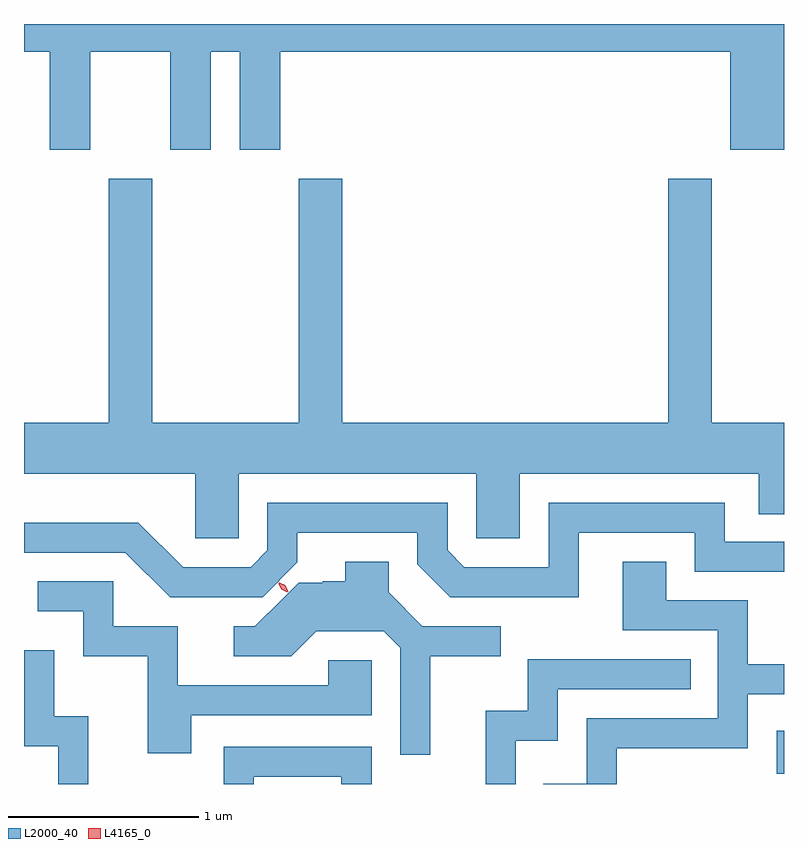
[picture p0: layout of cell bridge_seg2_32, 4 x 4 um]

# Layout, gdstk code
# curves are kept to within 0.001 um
import gdstk
lib = gdstk.Library(unit=1e-6, precision=1e-09)
def R(c, l, rs):  # rectangles x0, y0, x1, y1
    for r in rs: c.add(gdstk.rectangle(r[:2], r[2:], *l))
def P(c, l, *ps):  # polygons
    for p in ps: c.add(gdstk.Polygon(p, *l))
L2000_40 = (2000, 40)
L4165_0 = (4165, 0)

bridge_seg2_32 = lib.new_cell('bridge_seg2_32')
R(bridge_seg2_32, L2000_40, [(1911.251,1006.776,1911.29,1007.004)])
P(bridge_seg2_32, L2000_40, [(1907.639,1010.576),(1908.061,1010.576),(1908.061,1010.061),(1908.274,1010.061),(1908.274,1010.576),(1908.426,1010.576),(1908.426,1010.061),(1908.639,1010.061),(1908.639,1010.576),(1911.006,1010.576),(1911.006,1010.061),(1911.29,1010.061),(1911.29,1010.723),(1907.29,1010.723),(1907.29,1010.576),(1907.426,1010.576),(1907.426,1010.061),(1907.639,1010.061)],
  [(1908.419,1008.356),(1909.671,1008.356),(1909.671,1008.016),(1909.899,1008.016),(1909.899,1008.356),(1911.156,1008.356),(1911.156,1008.143),(1911.29,1008.143),(1911.29,1008.624),(1910.909,1008.624),(1910.909,1009.909),(1910.681,1009.909),(1910.681,1008.624),(1908.964,1008.624),(1908.964,1009.909),(1908.736,1009.909),(1908.736,1008.624),(1907.964,1008.624),(1907.964,1009.909),(1907.736,1009.909),(1907.736,1008.624),(1907.29,1008.624),(1907.29,1008.356),(1908.191,1008.356),(1908.191,1008.016),(1908.419,1008.016)],
  [(1908.45,1007.707),(1908.547,1007.707),(1908.729,1007.889),(1908.729,1008.046),(1909.361,1008.046),(1909.361,1007.879),(1909.534,1007.706),(1910.209,1007.706),(1910.209,1008.046),(1910.821,1008.046),(1910.821,1007.841),(1911.29,1007.841),(1911.29,1007.999),(1910.979,1007.999),(1910.979,1008.204),(1910.051,1008.204),(1910.051,1007.864),(1909.607,1007.864),(1909.519,1007.952),(1909.519,1008.204),(1908.571,1008.204),(1908.571,1007.952),(1908.484,1007.864),(1908.127,1007.864),(1907.892,1008.099),(1907.29,1008.099),(1907.29,1007.941),(1907.824,1007.941),(1908.059,1007.706)],
  [(1910.409,1006.911),(1911.099,1006.911),(1911.099,1007.196),(1911.29,1007.196),(1911.29,1007.354),(1911.099,1007.354),(1911.099,1007.689),(1910.669,1007.689),(1910.669,1007.894),(1910.441,1007.894),(1910.441,1007.531),(1910.941,1007.531),(1910.941,1007.069),(1910.251,1007.069),(1910.251,1006.724),(1910.023,1006.724),(1910.023,1006.723),(1910.409,1006.723)],
  [(1909.429,1007.396),(1909.798,1007.396),(1909.798,1007.554),(1909.387,1007.554),(1909.209,1007.732),(1909.209,1007.894),(1908.981,1007.894),(1908.981,1007.789),(1908.862,1007.789),(1908.862,1007.781),(1908.735,1007.781),(1908.575,1007.621),(1908.573,1007.623),(1908.504,1007.554),(1908.393,1007.554),(1908.393,1007.396),(1908.697,1007.396),(1908.827,1007.526),(1909.184,1007.526),(1909.271,1007.439),(1909.271,1006.878),(1909.429,1006.878)],
  [(1908.169,1007.086),(1909.119,1007.086),(1909.119,1007.374),(1908.891,1007.374),(1908.891,1007.244),(1908.099,1007.244),(1908.099,1007.554),(1907.759,1007.554),(1907.759,1007.789),(1907.363,1007.789),(1907.363,1007.631),(1907.601,1007.631),(1907.601,1007.396),(1907.941,1007.396),(1907.941,1006.886),(1908.169,1006.886)],
  [(1907.629,1007.079),(1907.449,1007.079),(1907.449,1007.428),(1907.291,1007.428),(1907.291,1006.921),(1907.471,1006.921),(1907.471,1006.723),(1907.629,1006.723)],
  [(1909.879,1006.951),(1910.099,1006.951),(1910.099,1007.221),(1910.798,1007.221),(1910.798,1007.379),(1909.941,1007.379),(1909.941,1007.109),(1909.721,1007.109),(1909.721,1006.723),(1909.879,1006.723)],
  [(1908.499,1006.761),(1908.961,1006.761),(1908.961,1006.723),(1909.119,1006.723),(1909.119,1006.919),(1908.341,1006.919),(1908.341,1006.723),(1908.499,1006.723)])
P(bridge_seg2_32, L4165_0, [(1908.682,1007.736),(1908.65,1007.754),(1908.631,1007.786),(1908.631,1007.786),(1908.632,1007.786),(1908.664,1007.768),(1908.682,1007.736),(1908.682,1007.736)],
  [(1908.675,1007.733),(1908.645,1007.749),(1908.628,1007.779),(1908.628,1007.78),(1908.629,1007.78),(1908.659,1007.764),(1908.676,1007.734),(1908.676,1007.733)])

lib.write_gds('bridge_seg2_32.gds')
